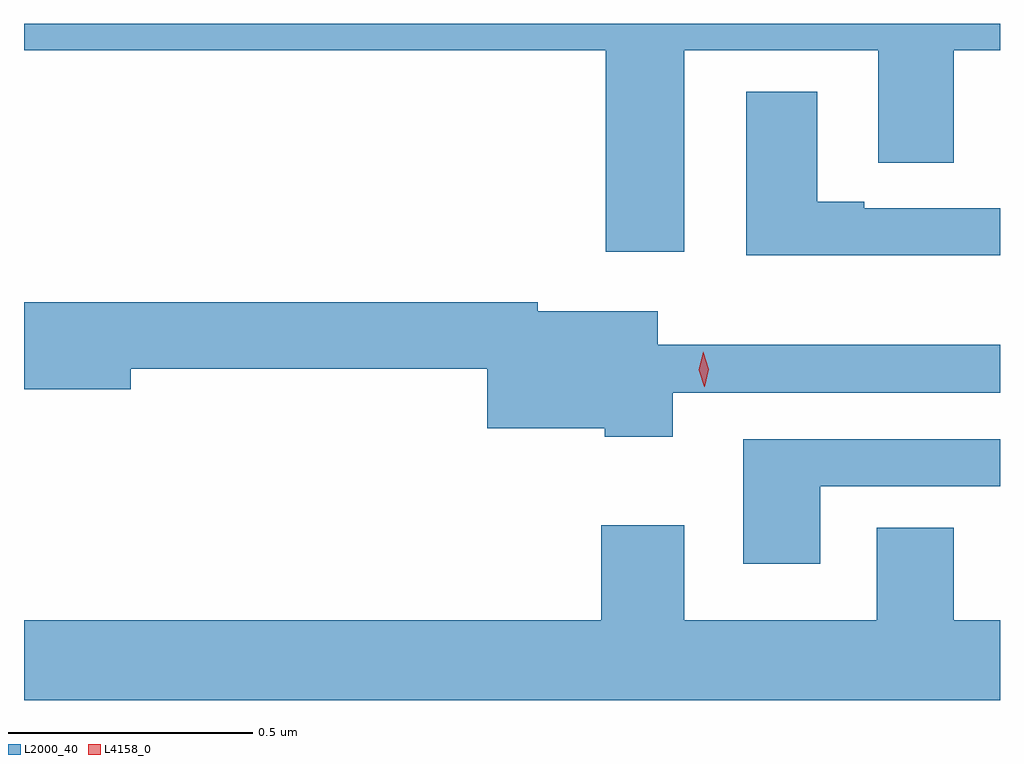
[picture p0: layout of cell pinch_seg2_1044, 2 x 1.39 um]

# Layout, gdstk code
import gdstk
lib = gdstk.Library(unit=1e-6, precision=1e-09)
def P(c, l, *ps):  # polygons
    for p in ps: c.add(gdstk.Polygon(p, *l))
L2000_40 = (2000, 40)
L4158_0 = (4158, 0)

pinch_seg2_1044 = lib.new_cell('pinch_seg2_1044')
P(pinch_seg2_1044, L2000_40, [(373.54,623.66),(373.937,623.66),(373.937,623.43),(374.092,623.43),(374.092,623.66),(374.187,623.66),(374.187,623.715),(372.187,623.715),(372.187,623.66),(373.379,623.66),(373.379,623.247),(373.54,623.247)],
  [(374.187,623.337),(373.909,623.337),(373.909,623.35),(373.813,623.35),(373.813,623.575),(373.667,623.575),(373.667,623.24),(374.187,623.24)],
  [(373.516,622.959),(374.187,622.959),(374.187,623.057),(373.486,623.057),(373.486,623.125),(373.24,623.125),(373.24,623.144),(372.187,623.144),(372.187,622.966),(372.406,622.966),(372.406,623.008),(373.136,623.008),(373.136,622.886),(373.377,622.886),(373.377,622.868),(373.516,622.868)],
  [(373.819,622.767),(374.187,622.767),(374.187,622.863),(373.661,622.863),(373.661,622.608),(373.819,622.608)],
  [(374.187,622.492),(374.092,622.492),(374.092,622.682),(373.934,622.682),(373.934,622.492),(373.54,622.492),(373.54,622.687),(373.37,622.687),(373.37,622.492),(372.187,622.492),(372.187,622.328),(374.187,622.328)])
P(pinch_seg2_1044, L4158_0, [(373.581,622.971),(373.57,623.006),(373.579,623.042),(373.579,623.042),(373.579,623.042),(373.59,623.007),(373.582,622.971),(373.582,622.971)])

lib.write_gds('pinch_seg2_1044.gds')
